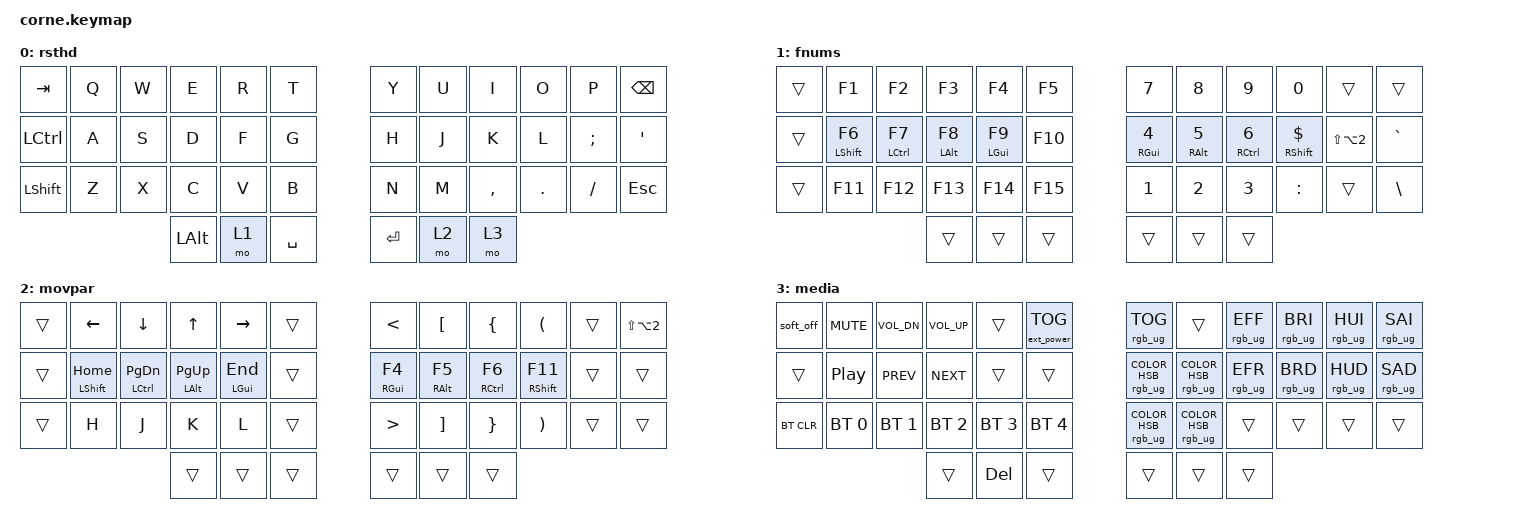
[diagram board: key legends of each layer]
/*
 * Copyright (c) 2020 The ZMK Contributors
 *
 * SPDX-License-Identifier: MIT
 */

#include <behaviors.dtsi>
#include <dt-bindings/zmk/bt.h>
#include <dt-bindings/zmk/ext_power.h>
#include <dt-bindings/zmk/keys.h>
#include <dt-bindings/zmk/rgb.h>

#define DVK 0
#define ONE   1
#define TWO   2
#define THREE 3

&led_strip { chain-length = <27>; };

/ {
    behaviors {
        bhm: balanced_homerow_mods {
            compatible = "zmk,behavior-hold-tap";
            #binding-cells = <2>;
            tapping-term-ms = <200>;    // <---[[moderate duration]]
            quick-tap-ms = <0>;
            flavor = "balanced";
            bindings = <&kp>, <&kp>;
        };

        tdmod: tdmod {
            compatible = "zmk,behavior-tap-dance";
            label = "TDMOD";
            #binding-cells = <0>;
            bindings = <&kp LC(LALT)>, <&kp LC(LA(LSHFT))>;
        };
    };

    keymap {
        compatible = "zmk,keymap";

        rsthd {
            // --------------------------------------------------------------------------------------------------------------
            // |  ESC |  '      |  ,<     |  .>     |  P      |  Y  | ## |  F  |  G       |  C      |  R      |  L      | =+  |
            // |  TAB |  LS(A)  |  LC(O)  |  LA(E)  |  LG(U)  |  I  | ## |  D  |  RG(H)   |  RA(T)  |  RC(N)  |  RS(S)  | -_  |
            // |  CA  |  ;      |  Q      |  J      |  K      |  X  | ## |  B  |  M       |  W      |  V      |  Z      | /?  |
            //                            | MO(2)   | MO(1)   | BSP | ## | ENT |  SPC     | MO(3)   |

            bindings = <
&kp TAB         &kp Q  &kp W  &kp E         &kp R  &kp T        &kp Y      &kp U  &kp I      &kp O       &kp P          &kp BACKSPACE
&kp LCTRL       &kp A  &kp S  &kp D         &kp F  &kp G        &kp H      &kp J  &kp K      &kp L       &kp SEMICOLON  &kp SQT
&kp LEFT_SHIFT  &kp Z  &kp X  &kp C         &kp V  &kp B        &kp N      &kp M  &kp COMMA  &kp PERIOD  &kp SLASH      &kp ESC
                              &kp LEFT_ALT  &mo 1  &kp SPACE    &kp ENTER  &mo 2  &mo 3
            >;
        };

        fnums {
            //--------------------------------------------------------------------------------------------------------------
            // |      | [          |  {         | }          | ]          |     | ## |     7 |    8 |    9 |     & | * | + |
            // |      | LSHIFT     |  LC (      | LA )       |  LGUI      |     | ## | RG  4 | RA 5 | RC 6 |  RS $ | % | ^ |
            // |      | left       |   up       |  down      | right      |     | ## |     1 |    2 |    3 |     ! | @ | # |
            // |  MEH | home       |   pgup     |  pgdn      |  end       |     | ## |     0 |    , |    . |     = |   | - | 
            //                                  |            |            |     | ## |       |      |      | 

            bindings = <
&trans  &kp F1          &kp F2         &kp F3        &kp F4            &kp F5     &kp N7        &kp N8        &kp N9         &kp N0              &trans                &trans
&trans  &bhm LSHIFT F6  &bhm LCTRL F7  &bhm LALT F8  &bhm LEFT_GUI F9  &kp F10    &bhm RGUI N4  &bhm RALT N5  &bhm RCTRL N6  &bhm RSHIFT DOLLAR  &kp LS(LA(NUMBER_2))  &kp GRAVE
&trans  &kp F11         &kp F12        &kp F13       &kp F14           &kp F15    &kp N1        &kp N2        &kp N3         &kp COLON           &trans                &kp BACKSLASH
                                       &trans        &trans            &trans     &trans        &trans        &trans
            >;
        };

        movpar {
            bindings = <
&trans  &kp LEFT_ARROW    &kp DOWN_ARROW               &kp UP_ARROW     &kp RIGHT_ARROW  &trans    &kp LESS_THAN     &kp LEFT_BRACKET   &kp LEFT_BRACE   &kp LEFT_PARENTHESIS   &trans  &kp LS(LA(NUMBER_2))
&trans  &bhm LSHIFT HOME  &bhm LEFT_CONTROL PAGE_DOWN  &bhm LALT PG_UP  &bhm LGUI END    &trans    &bhm RGUI F4      &bhm RALT F5       &bhm RCTRL F6    &bhm RSHFT F11         &trans  &trans
&trans  &kp H             &kp J                        &kp K            &kp L            &trans    &kp GREATER_THAN  &kp RIGHT_BRACKET  &kp RIGHT_BRACE  &kp RIGHT_PARENTHESIS  &trans  &trans
                                                       &trans           &trans           &trans    &trans            &trans             &trans
            >;
        };

        media {
            bindings = <
&soft_off   &kp C_MUTE        &kp C_VOL_DN  &kp C_VOLUME_UP  &trans        &ext_power EP_TOG    &rgb_ug RGB_TOG                    &trans                             &rgb_ug RGB_EFF  &rgb_ug RGB_BRI  &rgb_ug RGB_HUI  &rgb_ug RGB_SAI
&trans      &kp C_PLAY_PAUSE  &kp C_PREV    &kp C_NEXT       &trans        &trans               &rgb_ug RGB_COLOR_HSB(0,100,50)    &rgb_ug RGB_COLOR_HSB(119,100,50)  &rgb_ug RGB_EFR  &rgb_ug RGB_BRD  &rgb_ug RGB_HUD  &rgb_ug RGB_SAD
&bt BT_CLR  &bt BT_SEL 0      &bt BT_SEL 1  &bt BT_SEL 2     &bt BT_SEL 3  &bt BT_SEL 4         &rgb_ug RGB_COLOR_HSB(194,100,50)  &rgb_ug RGB_COLOR_HSB(189,0,100)   &trans           &trans           &trans           &trans
                                            &trans           &kp DELETE    &trans               &trans                             &trans                             &trans
            >;
        };
    };
};
